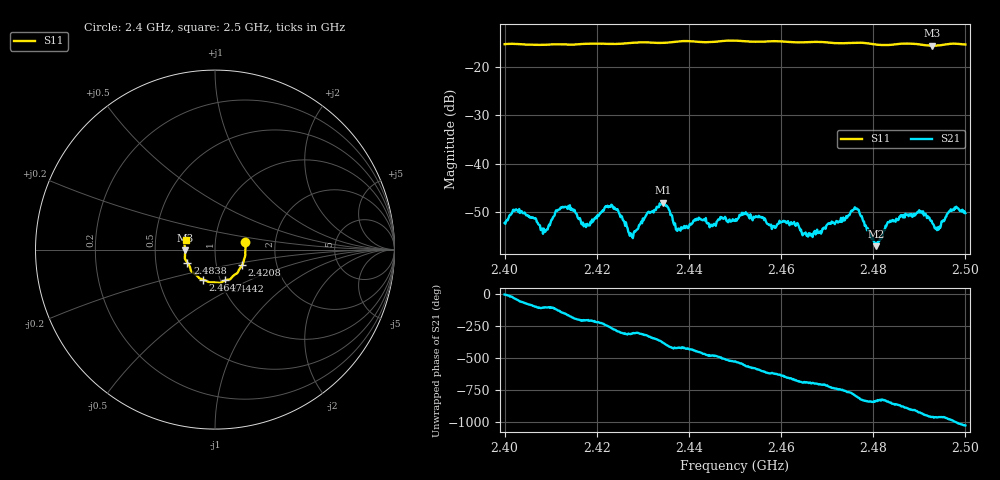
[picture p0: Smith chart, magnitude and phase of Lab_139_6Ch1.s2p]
# Hz S RI R 50
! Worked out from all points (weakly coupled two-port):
!   601 points, 2.4 GHz to 2.5 GHz, reference 50 ohm
!   highest |S21| = -48.05 dB at 2.4343 GHz (marker M1); lowest = -57.0 dB at 2.4807 GHz (marker M2)
!   lowest |S11| = -15.6 dB at 2.4928 GHz (marker M3), VSWR 1.40, Z = 35.8 - j0.336 ohm
!   |S11| at or under -10 dB: start of sweep to end of sweep
!   S12 and S22 are empty: the file has one direction only
!   S11 on the Smith chart (normalised r, x): 2.4 GHz: 1.40, +0.12; 2.4208 GHz: 1.33, -0.24; 2.4442 GHz: 1.05, -0.37; 2.4647 GHz: 0.83, -0.29; 2.4838 GHz: 0.73, -0.11; 2.5 GHz: 0.72, +0.08
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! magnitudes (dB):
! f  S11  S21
! 2.4 GHz  -15.3  -52.2
! 2.4027 GHz  -15.2  -49.6
! 2.4088 GHz  -15.4  -54.1
! 2.413 GHz  -15.3  -48.9
! 2.4167 GHz  -15.2  -52.5
! 2.4208 GHz  -15.2  -50.2
! 2.4237 GHz  -15.2  -49.3
! 2.4275 GHz  -15.0  -54.6
! 2.4333 GHz  -15.0  -49.0
! 2.4343 GHz  -15.0  -48.0
! 2.4377 GHz  -14.7  -53.4
! 2.4442 GHz  -14.9  -52.3
! 2.45 GHz  -14.5  -51.8
! 2.4647 GHz  -14.9  -54.8
! 2.4667 GHz  -14.8  -54.5
! 2.4763 GHz  -15.0  -49.4
! 2.4807 GHz  -15.3  -57.0
! 2.4833 GHz  -15.4  -52.1
! 2.4838 GHz  -15.4  -52.0
! 2.4903 GHz  -15.4  -49.8
! 2.4928 GHz  -15.6  -52.3
! 2.5 GHz  -15.3  -50.2
